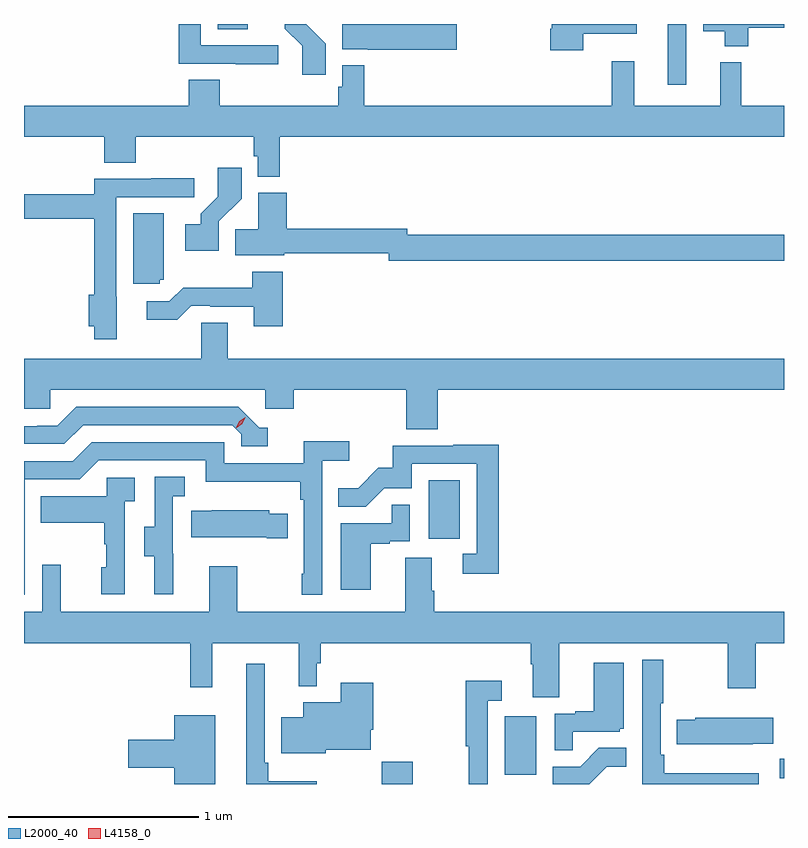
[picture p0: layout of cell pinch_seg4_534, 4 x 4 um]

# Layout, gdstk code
import gdstk
lib = gdstk.Library(unit=1e-6, precision=1e-09)
def R(c, l, rs):  # rectangles x0, y0, x1, y1
    for r in rs: c.add(gdstk.rectangle(r[:2], r[2:], *l))
def P(c, l, *ps):  # polygons
    for p in ps: c.add(gdstk.Polygon(p, *l))
L2000_40 = (2000, 40)
L4158_0 = (4158, 0)

pinch_seg4_534 = lib.new_cell('pinch_seg4_534')
R(pinch_seg4_534, L2000_40, [(1130.815,781.426,1130.98,781.543), (1132.911,781.456,1132.933,781.559), (1131.464,781.476,1131.628,781.783), (1131.062,782.718,1131.226,783.025), (1132.322,785.106,1132.419,785.426), (1129.952,785.398,1130.11,785.426)])
P(pinch_seg4_534, L2000_40, [(1130.272,785.313),(1129.863,785.313),(1129.863,785.426),(1129.747,785.426),(1129.747,785.217),(1130.047,785.217),(1130.047,785.215),(1130.272,785.215)],
  [(1132.744,785.406),(1132.933,785.406),(1132.933,785.426),(1132.508,785.426),(1132.508,785.387),(1132.622,785.387),(1132.622,785.309),(1132.744,785.309)],
  [(1131.211,785.426),(1130.609,785.426),(1130.609,785.294),(1130.742,785.294),(1130.742,785.29),(1131.211,785.29)],
  [(1131.876,785.375),(1132.159,785.375),(1132.159,785.426),(1131.71,785.426),(1131.71,785.401),(1131.703,785.401),(1131.703,785.289),(1131.876,785.289)],
  [(1130.522,785.322),(1130.418,785.426),(1130.306,785.426),(1130.306,785.401),(1130.397,785.311),(1130.397,785.16),(1130.522,785.16)],
  [(1130.279,784.832),(1132.933,784.832),(1132.933,784.996),(1132.708,784.996),(1132.708,785.224),(1132.598,785.224),(1132.598,784.996),(1132.145,784.996),(1132.145,785.23),(1132.027,785.23),(1132.027,784.996),(1130.723,784.996),(1130.723,785.209),(1130.607,785.209),(1130.607,785.097),(1130.587,785.097),(1130.587,784.996),(1129.964,784.996),(1129.964,785.132),(1129.799,785.132),(1129.799,784.996),(1128.933,784.996),(1128.933,784.832),(1129.355,784.832),(1129.355,784.696),(1129.52,784.696),(1129.52,784.832),(1130.143,784.832),(1130.143,784.731),(1130.163,784.731),(1130.163,784.622),(1130.279,784.622)],
  [(1129.959,784.387),(1130.078,784.506),(1130.078,784.669),(1129.953,784.669),(1129.953,784.517),(1129.862,784.427),(1129.862,784.372),(1129.782,784.372),(1129.782,784.232),(1129.959,784.232)],
  [(1129.42,783.99),(1129.419,783.99),(1129.419,784.515),(1129.828,784.515),(1129.828,784.614),(1129.603,784.614),(1129.603,784.611),(1129.303,784.611),(1129.303,784.531),(1128.933,784.531),(1128.933,784.402),(1129.303,784.402),(1129.303,784.002),(1129.274,784.002),(1129.274,783.836),(1129.303,783.836),(1129.303,783.768),(1129.42,783.768)],
  [(1132.933,784.316),(1130.949,784.316),(1130.949,784.348),(1130.315,784.348),(1130.315,784.537),(1130.165,784.537),(1130.165,784.346),(1130.044,784.346),(1130.044,784.208),(1130.302,784.208),(1130.302,784.219),(1130.853,784.219),(1130.853,784.18),(1132.933,784.18)],
  [(1129.647,784.08),(1129.669,784.08),(1129.669,784.429),(1129.508,784.429),(1129.508,784.059),(1129.647,784.059)],
  [(1130.294,784.123),(1130.134,784.123),(1130.134,784.039),(1129.771,784.039),(1129.698,783.966),(1129.578,783.966),(1129.578,783.869),(1129.739,783.869),(1129.812,783.942),(1129.912,783.942),(1129.912,783.939),(1130.141,783.939),(1130.141,783.834),(1130.294,783.834)],
  [(1131.11,783.5),(1132.933,783.5),(1132.933,783.664),(1130.005,783.664),(1130.005,783.854),(1129.866,783.854),(1129.866,783.664),(1128.933,783.664),(1128.933,783.402),(1129.071,783.402),(1129.071,783.5),(1130.202,783.5),(1130.202,783.402),(1130.354,783.402),(1130.354,783.5),(1130.945,783.5),(1130.945,783.292),(1131.11,783.292)],
  [(1130.215,783.3),(1130.172,783.3),(1130.061,783.411),(1129.208,783.411),(1129.109,783.312),(1129.002,783.312),(1129.002,783.309),(1128.933,783.309),(1128.933,783.216),(1129.146,783.216),(1129.245,783.315),(1130.028,783.315),(1130.076,783.267),(1130.076,783.204),(1130.215,783.204)],
  [(1128.936,783.03),(1129.227,783.03),(1129.326,783.129),(1129.89,783.129),(1129.89,783.017),(1130.386,783.017),(1130.386,782.921),(1130.406,782.921),(1130.406,782.533),(1130.394,782.533),(1130.394,782.421),(1130.502,782.421),(1130.502,783.128),(1130.644,783.128),(1130.644,783.23),(1130.405,783.23),(1130.405,783.114),(1129.986,783.114),(1129.986,783.225),(1129.289,783.225),(1129.19,783.126),(1128.933,783.126),(1128.933,782.421),(1128.936,782.421)],
  [(1131.431,783.212),(1131.193,783.212),(1131.193,783.207),(1130.875,783.207),(1130.875,783.09),(1130.798,783.09),(1130.691,782.983),(1130.587,782.983),(1130.587,782.884),(1130.731,782.884),(1130.829,782.982),(1130.973,782.982),(1130.973,783.111),(1131.315,783.111),(1131.315,782.637),(1131.243,782.637),(1131.243,782.532),(1131.431,782.532)],
  [(1129.718,782.637),(1129.716,782.637),(1129.716,782.941),(1129.78,782.941),(1129.78,783.044),(1129.62,783.044),(1129.62,782.781),(1129.565,782.781),(1129.565,782.626),(1129.619,782.626),(1129.619,782.424),(1129.718,782.424)],
  [(1129.464,782.915),(1129.516,782.915),(1129.516,783.039),(1129.368,783.039),(1129.368,782.941),(1129.021,782.941),(1129.021,782.801),(1129.356,782.801),(1129.356,782.687),(1129.366,782.687),(1129.366,782.568),(1129.34,782.568),(1129.34,782.424),(1129.464,782.424)],
  [(1130.758,782.691),(1130.858,782.691),(1130.858,782.703),(1130.964,782.703),(1130.964,782.897),(1130.869,782.897),(1130.869,782.799),(1130.6,782.799),(1130.6,782.448),(1130.758,782.448)],
  [(1130.321,782.848),(1130.223,782.848),(1130.223,782.866),(1129.921,782.866),(1129.921,782.863),(1129.813,782.863),(1129.813,782.726),(1130.21,782.726),(1130.21,782.719),(1130.321,782.719)],
  [(1131.751,782.168),(1132.636,782.168),(1132.636,781.929),(1132.783,781.929),(1132.783,782.168),(1132.933,782.168),(1132.933,782.332),(1131.092,782.332),(1131.092,782.444),(1131.079,782.444),(1131.079,782.618),(1130.939,782.618),(1130.939,782.332),(1130.055,782.332),(1130.055,782.572),(1129.907,782.572),(1129.907,782.332),(1129.127,782.332),(1129.127,782.581),(1129.029,782.581),(1129.029,782.332),(1128.933,782.332),(1128.933,782.168),(1129.807,782.168),(1129.807,781.935),(1129.925,781.935),(1129.925,782.168),(1130.378,782.168),(1130.378,781.94),(1130.475,781.94),(1130.475,782.061),(1130.495,782.061),(1130.495,782.168),(1131.599,782.168),(1131.599,782.056),(1131.611,782.056),(1131.611,781.882),(1131.751,781.882)],
  [(1132.8,781.483),(1132.304,781.483),(1132.304,781.579),(1132.284,781.579),(1132.284,781.852),(1132.297,781.852),(1132.297,782.08),(1132.188,782.08),(1132.188,781.426),(1132.8,781.426)],
  [(1131.821,781.701),(1132.068,781.701),(1132.068,781.716),(1132.09,781.716),(1132.09,782.065),(1131.932,782.065),(1131.932,781.81),(1131.833,781.81),(1131.833,781.797),(1131.726,781.797),(1131.726,781.603),(1131.821,781.603)],
  [(1130.473,781.441),(1130.219,781.441),(1130.219,781.537),(1130.199,781.537),(1130.199,782.059),(1130.102,782.059),(1130.102,781.426),(1130.473,781.426)],
  [(1131.375,781.863),(1131.448,781.863),(1131.448,781.969),(1131.259,781.969),(1131.259,781.626),(1131.274,781.626),(1131.274,781.426),(1131.375,781.426)],
  [(1130.52,781.607),(1130.758,781.607),(1130.758,781.711),(1130.771,781.711),(1130.771,781.96),(1130.6,781.96),(1130.6,781.855),(1130.402,781.855),(1130.402,781.777),(1130.288,781.777),(1130.288,781.589),(1130.52,781.589)],
  [(1129.939,781.789),(1129.724,781.789),(1129.724,781.658),(1129.482,781.658),(1129.482,781.511),(1129.724,781.511),(1129.724,781.426),(1129.939,781.426)],
  [(1132.769,781.637),(1132.877,781.637),(1132.877,781.774),(1132.467,781.774),(1132.467,781.764),(1132.369,781.764),(1132.369,781.634),(1132.769,781.634)],
  [(1131.999,781.517),(1132.103,781.517),(1132.103,781.616),(1131.959,781.616),(1131.861,781.518),(1131.717,781.518),(1131.717,781.426),(1131.908,781.426)])
P(pinch_seg4_534, L4158_0, [(1130.051,783.301),(1130.051,783.302),(1130.067,783.334),(1130.097,783.355),(1130.097,783.355),(1130.097,783.354),(1130.082,783.321),(1130.052,783.301)])

lib.write_gds('pinch_seg4_534.gds')
